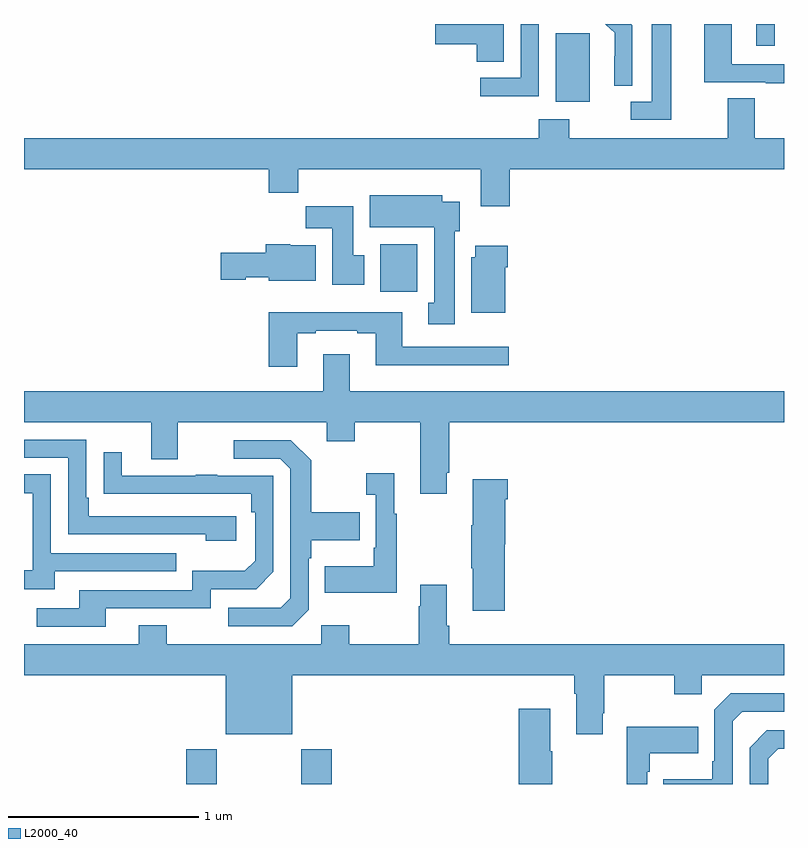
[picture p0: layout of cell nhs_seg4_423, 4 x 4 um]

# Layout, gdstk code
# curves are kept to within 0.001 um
import gdstk
lib = gdstk.Library(unit=1e-6, precision=1e-09)
def R(c, l, rs):  # rectangles x0, y0, x1, y1
    for r in rs: c.add(gdstk.rectangle(r[:2], r[2:], *l))
def P(c, l, *ps):  # polygons
    for p in ps: c.add(gdstk.Polygon(p, *l))
L2000_40 = (2000, 40)

nhs_seg4_423 = lib.new_cell('nhs_seg4_423')
R(nhs_seg4_423, L2000_40, [(131.855,810.9,132.015,811.084), (132.46,810.9,132.62,811.084), (132.875,813.492,133.071,813.742), (133.799,814.49,133.978,814.851), (134.855,814.785,134.952,814.9)])
P(nhs_seg4_423, L2000_40, [(134.407,814.9),(134.303,814.9),(134.303,814.491),(134.193,814.491),(134.193,814.395),(134.407,814.395)],
  [(134.202,814.894),(134.196,814.9),(134.06,814.9),(134.108,814.853),(134.108,814.73),(134.106,814.73),(134.106,814.576),(134.202,814.576)],
  [(135,814.689),(134.724,814.689),(134.724,814.9),(134.579,814.9),(134.579,814.593),(134.903,814.593),(134.903,814.589),(135,814.589)],
  [(133.525,814.9),(133.164,814.9),(133.164,814.793),(133.382,814.793),(133.382,814.702),(133.525,814.702)],
  [(133.71,814.9),(133.614,814.9),(133.614,814.617),(133.401,814.617),(133.401,814.519),(133.71,814.519)],
  [(133.556,814.136),(135,814.136),(135,814.3),(134.845,814.3),(134.845,814.508),(134.705,814.508),(134.705,814.3),(133.869,814.3),(133.869,814.399),(133.709,814.399),(133.709,814.3),(131,814.3),(131,814.136),(132.287,814.136),(132.287,814.012),(132.443,814.012),(132.443,814.136),(133.403,814.136),(133.403,813.942),(133.556,813.942)],
  [(133.267,813.81),(133.294,813.81),(133.294,813.964),(133.201,813.964),(133.201,814),(132.821,814),(132.821,813.83),(133.16,813.83),(133.16,813.433),(133.127,813.433),(133.127,813.321),(133.267,813.321)],
  [(132.79,813.684),(132.733,813.684),(132.733,813.942),(132.484,813.942),(132.484,813.824),(132.623,813.824),(132.623,813.528),(132.79,813.528)],
  [(132.535,813.736),(132.402,813.736),(132.402,813.742),(132.272,813.742),(132.272,813.696),(132.036,813.696),(132.036,813.554),(132.168,813.554),(132.168,813.566),(132.288,813.566),(132.288,813.548),(132.535,813.548)],
  [(133.534,813.62),(133.547,813.62),(133.547,813.733),(133.376,813.733),(133.376,813.672),(133.355,813.672),(133.355,813.38),(133.534,813.38)],
  [(132.439,813.273),(132.535,813.273),(132.535,813.285),(132.755,813.285),(132.755,813.273),(132.851,813.273),(132.851,813.104),(133.552,813.104),(133.552,813.201),(132.991,813.201),(132.991,813.382),(132.287,813.382),(132.287,813.096),(132.439,813.096)],
  [(133.225,812.539),(133.238,812.539),(133.238,812.804),(135,812.804),(135,812.968),(132.715,812.968),(132.715,813.163),(132.575,813.163),(132.575,812.968),(131,812.968),(131,812.804),(131.669,812.804),(131.669,812.61),(131.809,812.61),(131.809,812.804),(132.593,812.804),(132.593,812.705),(132.741,812.705),(132.741,812.804),(133.085,812.804),(133.085,812.427),(133.225,812.427)],
  [(132.118,812.31),(131.341,812.31),(131.341,812.407),(131.328,812.407),(131.328,812.712),(131,812.712),(131,812.616),(131.232,812.616),(131.232,812.214),(131.957,812.214),(131.957,812.18),(132.118,812.18)],
  [(132.498,811.818),(132.498,812.087),(132.511,812.087),(132.511,812.183),(132.767,812.183),(132.767,812.331),(132.511,812.331),(132.511,812.603),(132.405,812.709),(132.105,812.709),(132.105,812.613),(132.348,812.613),(132.402,812.559),(132.402,811.878),(132.351,811.827),(132.075,811.827),(132.075,811.731),(132.411,811.731)],
  [(131.431,811.824),(131.982,811.824),(131.982,811.926),(132.222,811.926),(132.312,812.016),(132.312,812.523),(132.017,812.523),(132.017,812.528),(131.905,812.528),(131.905,812.523),(131.515,812.523),(131.515,812.647),(131.419,812.647),(131.419,812.428),(132.196,812.427),(132.196,812.33),(132.216,812.33),(132.216,812.076),(132.163,812.023),(131.886,812.023),(131.886,811.92),(131.291,811.92),(131.291,811.824),(131.067,811.824),(131.067,811.728),(131.431,811.728)],
  [(132.961,812.323),(132.949,812.323),(132.949,812.536),(132.801,812.536),(132.801,812.423),(132.852,812.423),(132.852,812.143),(132.84,812.143),(132.84,812.047),(132.583,812.047),(132.583,811.907),(132.961,811.907)],
  [(131.161,812.019),(131.801,812.019),(131.801,812.115),(131.142,812.115),(131.142,812.531),(131,812.531),(131,812.43),(131.046,812.43),(131.046,812.025),(131,812.025),(131,811.925),(131.161,811.925)],
  [(133.529,812.163),(133.534,812.163),(133.534,812.399),(133.547,812.399),(133.547,812.503),(133.361,812.503),(133.361,812.263),(133.354,812.263),(133.354,812.035),(133.361,812.035),(133.361,811.812),(133.529,811.812)],
  [(134.047,811.273),(134.055,811.273),(134.055,811.472),(134.422,811.472),(134.422,811.373),(134.568,811.373),(134.568,811.472),(135,811.472),(135,811.636),(133.238,811.636),(133.238,811.732),(133.225,811.732),(133.225,811.948),(133.085,811.948),(133.085,811.835),(133.078,811.835),(133.078,811.636),(132.711,811.636),(132.711,811.735),(132.564,811.735),(132.564,811.636),(131.751,811.636),(131.751,811.735),(131.603,811.735),(131.603,811.636),(131,811.636),(131,811.472),(132.062,811.472),(132.062,811.163),(132.412,811.163),(132.412,811.472),(133.895,811.472),(133.895,811.376),(133.907,811.376),(133.907,811.161),(134.047,811.161)],
  [(134.73,811.23),(134.781,811.281),(135,811.281),(135,811.377),(134.721,811.377),(134.634,811.29),(134.634,811.021),(134.622,811.021),(134.622,810.925),(134.365,810.925),(134.365,810.9),(134.73,810.9)],
  [(133.779,811.073),(133.771,811.073),(133.771,811.297),(133.604,811.297),(133.604,810.9),(133.779,810.9)],
  [(134.28,810.965),(134.293,810.965),(134.293,811.061),(134.549,811.061),(134.549,811.201),(134.172,811.201),(134.172,810.9),(134.28,810.9)],
  [(134.916,811.032),(134.969,811.085),(135,811.085),(135,811.182),(134.91,811.182),(134.82,811.092),(134.82,810.9),(134.916,810.9)])

lib.write_gds('nhs_seg4_423.gds')
